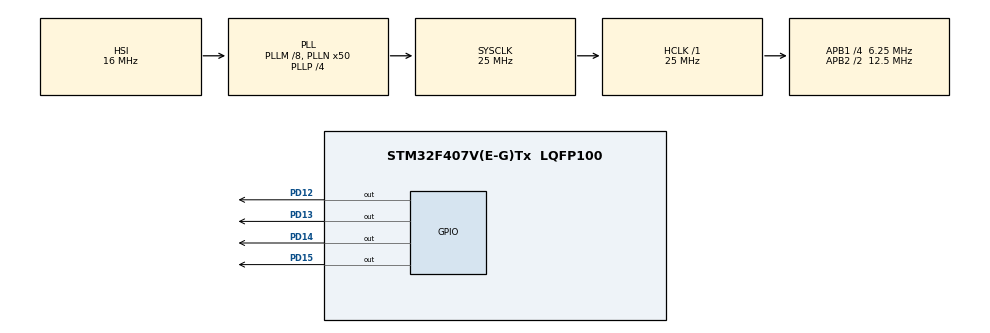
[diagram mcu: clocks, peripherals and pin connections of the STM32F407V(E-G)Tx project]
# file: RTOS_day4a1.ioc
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FREERTOS.INCLUDE_vTaskDelayUntil=1
FREERTOS.Tasks01=defaultTask,-3,128,StartDefaultTask,Default,NULL,Dynamic,NULL,NULL
FREERTOS.configUSE_NEWLIB_REENTRANT=1
Mcu.Family=STM32F4
Mcu.Name=STM32F407V(E-G)Tx
Mcu.Package=LQFP100
NVIC.PriorityGroup=NVIC_PRIORITYGROUP_4
NVIC.TIM1_UP_TIM10_IRQn=true\:15\:0\:false\:false\:true\:false\:false\:true\:true
NVIC.TimeBase=TIM1_UP_TIM10_IRQn
NVIC.TimeBaseIP=TIM1
PD12.Signal=GPIO_Output
PD13.Signal=GPIO_Output
PD14.Signal=GPIO_Output
PD15.Signal=GPIO_Output
ProjectManager.HeapSize=0x200
ProjectManager.StackSize=0x400
ProjectManager.TargetToolchain=STM32CubeIDE
RCC.48MHZClocksFreq_Value=14285714.285714285
RCC.AHBFreq_Value=25000000
RCC.APB1CLKDivider=RCC_HCLK_DIV4
RCC.APB1Freq_Value=6250000
RCC.APB1TimFreq_Value=12500000
RCC.APB2CLKDivider=RCC_HCLK_DIV2
RCC.APB2Freq_Value=12500000
RCC.APB2TimFreq_Value=25000000
RCC.CortexFreq_Value=25000000
RCC.HCLKFreq_Value=25000000
RCC.HSE_VALUE=8000000
RCC.HSI_VALUE=16000000
RCC.LSE_VALUE=32768
RCC.PLLM=8
RCC.PLLN=50
RCC.PLLP=RCC_PLLP_DIV4
RCC.PLLQ=7
RCC.SYSCLKFreq_VALUE=25000000
RCC.SYSCLKSource=RCC_SYSCLKSOURCE_PLLCLK
RCC.VCOOutputFreq_Value=100000000
VP_FREERTOS_VS_CMSIS_V1.Mode=CMSIS_V1
VP_SYS_VS_tim1.Mode=TIM1
board=STM32F407G-DISC1

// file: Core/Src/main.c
/* USER CODE BEGIN Header */
/**
  ******************************************************************************
  * @file           : main.c
  * @brief          : Main program body
  ******************************************************************************
  * @attention
  *
  * Copyright (c) 2024 STMicroelectronics.
  * All rights reserved.
  *
  * This software is licensed under terms that can be found in the LICENSE file
  * in the root directory of this software component.
  * If no LICENSE file comes with this software, it is provided AS-IS.
  *
  ******************************************************************************
  */
/* USER CODE END Header */
#include "main.h"

/* USER CODE BEGIN Includes */
#include "FreeRTOS.h"
#include "FreeRTOSConfig.h"
#include "task.h"
/* USER CODE END Includes */

void SystemClock_Config(void);
static void MX_GPIO_Init(void);

/* USER CODE BEGIN 0 */
void vPeriodicTask1(void *pvParam)
{
	portTickType wakeupTime = xTaskGetTickCount();
		while(1)
		{
			HAL_GPIO_TogglePin(GPIOD, GPIO_PIN_12);
			vTaskDelayUntil(&wakeupTime ,1000 / portTICK_RATE_MS);
		}
}

void vPeriodicTask2(void *pvParam)
{
	portTickType wakeupTime = xTaskGetTickCount();
		while(1)
		{
			HAL_GPIO_TogglePin(GPIOD, GPIO_PIN_13);
			vTaskDelayUntil(&wakeupTime ,2000 / portTICK_RATE_MS);
		}
}

void vPeriodicTask3(void *pvParam)
{
	portTickType wakeupTime = xTaskGetTickCount();
		while(1)
		{
			HAL_GPIO_TogglePin(GPIOD, GPIO_PIN_14);
			vTaskDelayUntil(&wakeupTime ,4000 / portTICK_RATE_MS);
		}
}

void vPeriodicTask4(void *pvParam)
{
	portTickType wakeupTime = xTaskGetTickCount();
		while(1)
		{
			HAL_GPIO_TogglePin(GPIOD, GPIO_PIN_15);
			vTaskDelayUntil(&wakeupTime ,6000 / portTICK_RATE_MS);
		}
}

/* USER CODE END 0 */

int main(void)
{

  /* USER CODE BEGIN 1 */
BaseType_t ret;
  /* USER CODE END 1 */

  /* MCU Configuration--------------------------------------------------------*/

  /* Reset of all peripherals, Initializes the Flash interface and the Systick. */
  HAL_Init();

  /* Configure the system clock */
  SystemClock_Config();

  /* Initialize all configured peripherals */
  MX_GPIO_Init();
  /* USER CODE BEGIN 2 */
  ret = xTaskCreate(vPeriodicTask1, "Periodic", configMINIMAL_STACK_SIZE, NULL, 2, NULL);
    if(ret != pdTRUE)
  	  Error_Handler();
    ret = xTaskCreate(vPeriodicTask2, "periodic", configMINIMAL_STACK_SIZE, NULL, 2, NULL);
    if(ret != pdTRUE)
    	  Error_Handler();

    ret = xTaskCreate(vPeriodicTask3, "Periodic", configMINIMAL_STACK_SIZE, NULL, 2, NULL);
      if(ret != pdTRUE)
    	  Error_Handler();
      ret = xTaskCreate(vPeriodicTask4, "periodic", configMINIMAL_STACK_SIZE, NULL, 2, NULL);
      if(ret != pdTRUE)
      	  Error_Handler();

    vTaskStartScheduler();
  /* USER CODE END 2 */

  /* Infinite loop */
  while (1)
  {

  }
}

void SystemClock_Config(void)
{
  RCC_OscInitTypeDef RCC_OscInitStruct = {0};
  RCC_ClkInitTypeDef RCC_ClkInitStruct = {0};

  /** Configure the main internal regulator output voltage
  */
  __HAL_RCC_PWR_CLK_ENABLE();
  __HAL_PWR_VOLTAGESCALING_CONFIG(PWR_REGULATOR_VOLTAGE_SCALE1);

  /** Initializes the RCC Oscillators according to the specified parameters
  * in the RCC_OscInitTypeDef structure.
  */
  RCC_OscInitStruct.OscillatorType = RCC_OSCILLATORTYPE_HSI;
  RCC_OscInitStruct.HSIState = RCC_HSI_ON;
  RCC_OscInitStruct.HSICalibrationValue = RCC_HSICALIBRATION_DEFAULT;
  RCC_OscInitStruct.PLL.PLLState = RCC_PLL_ON;
  RCC_OscInitStruct.PLL.PLLSource = RCC_PLLSOURCE_HSI;
  RCC_OscInitStruct.PLL.PLLM = 8;
  RCC_OscInitStruct.PLL.PLLN = 50;
  RCC_OscInitStruct.PLL.PLLP = RCC_PLLP_DIV4;
  RCC_OscInitStruct.PLL.PLLQ = 7;
  if (HAL_RCC_OscConfig(&RCC_OscInitStruct) != HAL_OK)
  {
    Error_Handler();
  }

  /** Initializes the CPU, AHB and APB buses clocks
  */
  RCC_ClkInitStruct.ClockType = RCC_CLOCKTYPE_HCLK|RCC_CLOCKTYPE_SYSCLK
                              |RCC_CLOCKTYPE_PCLK1|RCC_CLOCKTYPE_PCLK2;
  RCC_ClkInitStruct.SYSCLKSource = RCC_SYSCLKSOURCE_PLLCLK;
  RCC_ClkInitStruct.AHBCLKDivider = RCC_SYSCLK_DIV1;
  RCC_ClkInitStruct.APB1CLKDivider = RCC_HCLK_DIV4;
  RCC_ClkInitStruct.APB2CLKDivider = RCC_HCLK_DIV2;

  if (HAL_RCC_ClockConfig(&RCC_ClkInitStruct, FLASH_LATENCY_0) != HAL_OK)
  {
    Error_Handler();
  }
}

static void MX_GPIO_Init(void)
{
  GPIO_InitTypeDef GPIO_InitStruct = {0};

  /* GPIO Ports Clock Enable */
  __HAL_RCC_GPIOD_CLK_ENABLE();

  /*Configure GPIO pin Output Level */
  HAL_GPIO_WritePin(GPIOD, GPIO_PIN_12|GPIO_PIN_13|GPIO_PIN_14|GPIO_PIN_15, GPIO_PIN_RESET);

  /*Configure GPIO pins : PD12 PD13 PD14 PD15 */
  GPIO_InitStruct.Pin = GPIO_PIN_12|GPIO_PIN_13|GPIO_PIN_14|GPIO_PIN_15;
  GPIO_InitStruct.Mode = GPIO_MODE_OUTPUT_PP;
  GPIO_InitStruct.Pull = GPIO_NOPULL;
  GPIO_InitStruct.Speed = GPIO_SPEED_FREQ_LOW;
  HAL_GPIO_Init(GPIOD, &GPIO_InitStruct);

}

void HAL_TIM_PeriodElapsedCallback(TIM_HandleTypeDef *htim)
{
  if (htim->Instance == TIM1) {
    HAL_IncTick();
  }
}

void Error_Handler(void)
{
  __disable_irq();
  while (1)
  {
  }
}
